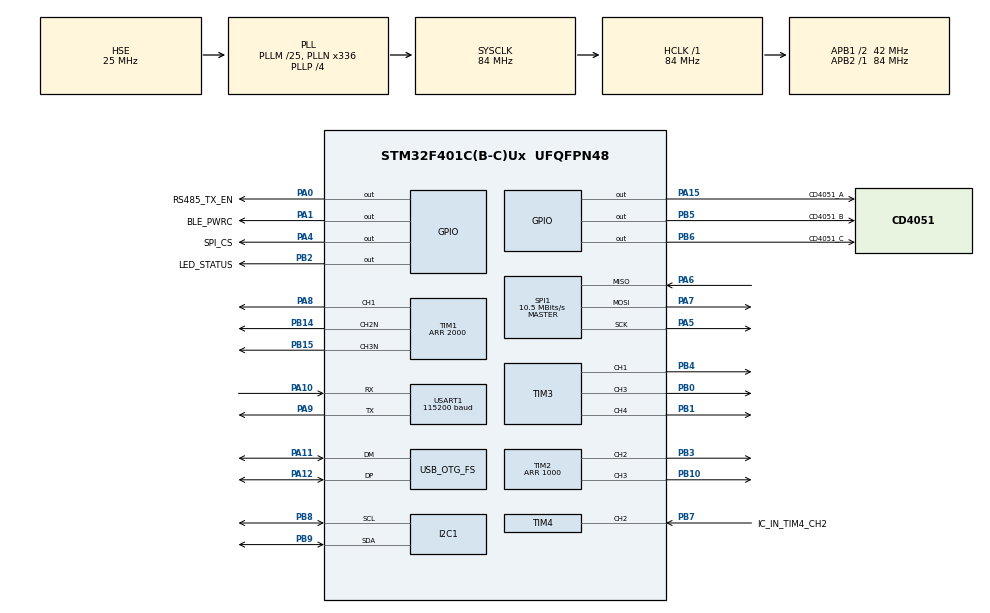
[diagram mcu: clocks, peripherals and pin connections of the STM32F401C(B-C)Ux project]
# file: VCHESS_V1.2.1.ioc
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Dma.I2C1_RX.11.Direction=DMA_PERIPH_TO_MEMORY
Dma.I2C1_RX.11.FIFOMode=DMA_FIFOMODE_DISABLE
Dma.I2C1_RX.11.Instance=DMA1_Stream0
Dma.I2C1_RX.11.MemDataAlignment=DMA_MDATAALIGN_BYTE
Dma.I2C1_RX.11.MemInc=DMA_MINC_ENABLE
Dma.I2C1_RX.11.Mode=DMA_NORMAL
Dma.I2C1_RX.11.PeriphDataAlignment=DMA_PDATAALIGN_BYTE
Dma.I2C1_RX.11.PeriphInc=DMA_PINC_DISABLE
Dma.I2C1_RX.11.Priority=DMA_PRIORITY_HIGH
Dma.Request0=TIM1_CH1
Dma.Request1=TIM1_CH2
Dma.Request10=USART1_TX
Dma.Request11=I2C1_RX
Dma.Request2=TIM1_CH3
Dma.Request3=TIM3_CH1/TRIG
Dma.Request4=TIM3_CH3
Dma.Request5=TIM3_CH4/UP
Dma.Request6=TIM4_CH2
Dma.Request7=TIM2_CH3/UP
Dma.Request8=TIM2_CH2/CH4
Dma.Request9=USART1_RX
Dma.TIM1_CH1.0.Direction=DMA_MEMORY_TO_PERIPH
Dma.TIM1_CH1.0.FIFOMode=DMA_FIFOMODE_DISABLE
Dma.TIM1_CH1.0.Instance=DMA2_Stream1
Dma.TIM1_CH1.0.MemDataAlignment=DMA_MDATAALIGN_HALFWORD
Dma.TIM1_CH1.0.MemInc=DMA_MINC_ENABLE
Dma.TIM1_CH1.0.Mode=DMA_NORMAL
Dma.TIM1_CH1.0.PeriphDataAlignment=DMA_PDATAALIGN_HALFWORD
Dma.TIM1_CH1.0.PeriphInc=DMA_PINC_DISABLE
Dma.TIM1_CH1.0.Priority=DMA_PRIORITY_MEDIUM
Dma.TIM1_CH2.1.Direction=DMA_MEMORY_TO_PERIPH
Dma.TIM1_CH2.1.FIFOMode=DMA_FIFOMODE_DISABLE
Dma.TIM1_CH2.1.Instance=DMA2_Stream2
Dma.TIM1_CH2.1.MemDataAlignment=DMA_MDATAALIGN_HALFWORD
Dma.TIM1_CH2.1.MemInc=DMA_MINC_ENABLE
Dma.TIM1_CH2.1.Mode=DMA_NORMAL
Dma.TIM1_CH2.1.PeriphDataAlignment=DMA_PDATAALIGN_HALFWORD
Dma.TIM1_CH2.1.PeriphInc=DMA_PINC_DISABLE
Dma.TIM1_CH2.1.Priority=DMA_PRIORITY_MEDIUM
Dma.TIM1_CH3.2.Direction=DMA_MEMORY_TO_PERIPH
Dma.TIM1_CH3.2.FIFOMode=DMA_FIFOMODE_DISABLE
Dma.TIM1_CH3.2.Instance=DMA2_Stream6
Dma.TIM1_CH3.2.MemDataAlignment=DMA_MDATAALIGN_HALFWORD
Dma.TIM1_CH3.2.MemInc=DMA_MINC_ENABLE
Dma.TIM1_CH3.2.Mode=DMA_NORMAL
Dma.TIM1_CH3.2.PeriphDataAlignment=DMA_PDATAALIGN_HALFWORD
Dma.TIM1_CH3.2.PeriphInc=DMA_PINC_DISABLE
Dma.TIM1_CH3.2.Priority=DMA_PRIORITY_MEDIUM
Dma.TIM2_CH2/CH4.8.Direction=DMA_MEMORY_TO_PERIPH
Dma.TIM2_CH2/CH4.8.FIFOMode=DMA_FIFOMODE_DISABLE
Dma.TIM2_CH2/CH4.8.Instance=DMA1_Stream6
Dma.TIM2_CH2/CH4.8.MemDataAlignment=DMA_MDATAALIGN_WORD
Dma.TIM2_CH2/CH4.8.MemInc=DMA_MINC_ENABLE
Dma.TIM2_CH2/CH4.8.Mode=DMA_NORMAL
Dma.TIM2_CH2/CH4.8.PeriphDataAlignment=DMA_PDATAALIGN_WORD
Dma.TIM2_CH2/CH4.8.PeriphInc=DMA_PINC_DISABLE
Dma.TIM2_CH2/CH4.8.Priority=DMA_PRIORITY_MEDIUM
Dma.TIM2_CH3/UP.7.Direction=DMA_MEMORY_TO_PERIPH
Dma.TIM2_CH3/UP.7.FIFOMode=DMA_FIFOMODE_DISABLE
Dma.TIM2_CH3/UP.7.Instance=DMA1_Stream1
Dma.TIM2_CH3/UP.7.MemDataAlignment=DMA_MDATAALIGN_WORD
Dma.TIM2_CH3/UP.7.MemInc=DMA_MINC_ENABLE
Dma.TIM2_CH3/UP.7.Mode=DMA_NORMAL
Dma.TIM2_CH3/UP.7.PeriphDataAlignment=DMA_PDATAALIGN_WORD
Dma.TIM2_CH3/UP.7.PeriphInc=DMA_PINC_DISABLE
Dma.TIM2_CH3/UP.7.Priority=DMA_PRIORITY_MEDIUM
Dma.TIM3_CH1/TRIG.3.Direction=DMA_MEMORY_TO_PERIPH
Dma.TIM3_CH1/TRIG.3.FIFOMode=DMA_FIFOMODE_DISABLE
Dma.TIM3_CH1/TRIG.3.Instance=DMA1_Stream4
Dma.TIM3_CH1/TRIG.3.MemDataAlignment=DMA_MDATAALIGN_HALFWORD
Dma.TIM3_CH1/TRIG.3.MemInc=DMA_MINC_ENABLE
Dma.TIM3_CH1/TRIG.3.Mode=DMA_NORMAL
Dma.TIM3_CH1/TRIG.3.PeriphDataAlignment=DMA_PDATAALIGN_HALFWORD
Dma.TIM3_CH1/TRIG.3.PeriphInc=DMA_PINC_DISABLE
Dma.TIM3_CH1/TRIG.3.Priority=DMA_PRIORITY_MEDIUM
Dma.TIM3_CH3.4.Direction=DMA_MEMORY_TO_PERIPH
Dma.TIM3_CH3.4.FIFOMode=DMA_FIFOMODE_DISABLE
Dma.TIM3_CH3.4.Instance=DMA1_Stream7
Dma.TIM3_CH3.4.MemDataAlignment=DMA_MDATAALIGN_HALFWORD
Dma.TIM3_CH3.4.MemInc=DMA_MINC_ENABLE
Dma.TIM3_CH3.4.Mode=DMA_NORMAL
Dma.TIM3_CH3.4.PeriphDataAlignment=DMA_PDATAALIGN_HALFWORD
Dma.TIM3_CH3.4.PeriphInc=DMA_PINC_DISABLE
Dma.TIM3_CH3.4.Priority=DMA_PRIORITY_MEDIUM
Dma.TIM3_CH4/UP.5.Direction=DMA_MEMORY_TO_PERIPH
Dma.TIM3_CH4/UP.5.FIFOMode=DMA_FIFOMODE_DISABLE
Dma.TIM3_CH4/UP.5.Instance=DMA1_Stream2
Dma.TIM3_CH4/UP.5.MemDataAlignment=DMA_MDATAALIGN_HALFWORD
Dma.TIM3_CH4/UP.5.MemInc=DMA_MINC_ENABLE
Dma.TIM3_CH4/UP.5.Mode=DMA_NORMAL
Dma.TIM3_CH4/UP.5.PeriphDataAlignment=DMA_PDATAALIGN_HALFWORD
Dma.TIM3_CH4/UP.5.PeriphInc=DMA_PINC_DISABLE
Dma.TIM3_CH4/UP.5.Priority=DMA_PRIORITY_MEDIUM
Dma.TIM4_CH2.6.Direction=DMA_PERIPH_TO_MEMORY
Dma.TIM4_CH2.6.FIFOMode=DMA_FIFOMODE_DISABLE
Dma.TIM4_CH2.6.Instance=DMA1_Stream3
Dma.TIM4_CH2.6.MemDataAlignment=DMA_MDATAALIGN_HALFWORD
Dma.TIM4_CH2.6.MemInc=DMA_MINC_ENABLE
Dma.TIM4_CH2.6.Mode=DMA_NORMAL
Dma.TIM4_CH2.6.PeriphDataAlignment=DMA_PDATAALIGN_HALFWORD
Dma.TIM4_CH2.6.PeriphInc=DMA_PINC_DISABLE
Dma.TIM4_CH2.6.Priority=DMA_PRIORITY_HIGH
Dma.USART1_RX.9.Direction=DMA_PERIPH_TO_MEMORY
Dma.USART1_RX.9.FIFOMode=DMA_FIFOMODE_DISABLE
Dma.USART1_RX.9.Instance=DMA2_Stream5
Dma.USART1_RX.9.MemDataAlignment=DMA_MDATAALIGN_BYTE
Dma.USART1_RX.9.MemInc=DMA_MINC_ENABLE
Dma.USART1_RX.9.Mode=DMA_NORMAL
Dma.USART1_RX.9.PeriphDataAlignment=DMA_PDATAALIGN_BYTE
Dma.USART1_RX.9.PeriphInc=DMA_PINC_DISABLE
Dma.USART1_RX.9.Priority=DMA_PRIORITY_HIGH
Dma.USART1_TX.10.Direction=DMA_MEMORY_TO_PERIPH
Dma.USART1_TX.10.FIFOMode=DMA_FIFOMODE_DISABLE
Dma.USART1_TX.10.Instance=DMA2_Stream7
Dma.USART1_TX.10.MemDataAlignment=DMA_MDATAALIGN_BYTE
Dma.USART1_TX.10.MemInc=DMA_MINC_ENABLE
Dma.USART1_TX.10.Mode=DMA_NORMAL
Dma.USART1_TX.10.PeriphDataAlignment=DMA_PDATAALIGN_BYTE
Dma.USART1_TX.10.PeriphInc=DMA_PINC_DISABLE
Dma.USART1_TX.10.Priority=DMA_PRIORITY_HIGH
FREERTOS.BinarySemaphores01=binarySemGetFRAM,Dynamic,NULL;binarySemMasterGetData,Dynamic,NULL;binarySemI2C_Status,Dynamic,NULL
FREERTOS.Tasks01=defaultTask,3,512,StartDefaultTask,Default,NULL,Dynamic,NULL,NULL;taskScanPiece,2,4096,StartTaskScanPiece,As external,NULL,Static,taskScanPieceBuffer,taskScanPieceControlBlock
I2C1.OwnAddress=0x50
IWDG.Prescaler=IWDG_PRESCALER_64
IWDG.Reload=1000
Mcu.Family=STM32F4
Mcu.Name=STM32F401C(B-C)Ux
Mcu.Package=UFQFPN48
NVIC.DMA1_Stream0_IRQn=true\:5\:0\:false\:false\:true\:true\:false\:true\:true
NVIC.DMA1_Stream1_IRQn=true\:5\:0\:true\:false\:true\:true\:false\:true\:true
NVIC.DMA1_Stream2_IRQn=true\:5\:0\:true\:false\:true\:true\:false\:true\:true
NVIC.DMA1_Stream3_IRQn=true\:5\:0\:true\:false\:true\:true\:false\:true\:true
NVIC.DMA1_Stream4_IRQn=true\:5\:0\:true\:false\:true\:true\:false\:true\:true
NVIC.DMA1_Stream6_IRQn=true\:5\:0\:true\:false\:true\:true\:false\:true\:true
NVIC.DMA1_Stream7_IRQn=true\:5\:0\:true\:false\:true\:true\:false\:true\:true
NVIC.DMA2_Stream1_IRQn=true\:5\:0\:true\:false\:true\:true\:false\:true\:true
NVIC.DMA2_Stream2_IRQn=true\:5\:0\:true\:false\:true\:true\:false\:true\:true
NVIC.DMA2_Stream5_IRQn=true\:5\:0\:true\:false\:true\:true\:false\:true\:true
NVIC.DMA2_Stream6_IRQn=true\:5\:0\:true\:false\:true\:true\:false\:true\:true
NVIC.DMA2_Stream7_IRQn=true\:5\:0\:true\:false\:true\:true\:false\:true\:true
NVIC.I2C1_ER_IRQn=true\:5\:0\:false\:false\:true\:true\:true\:true\:true
NVIC.I2C1_EV_IRQn=true\:5\:0\:false\:false\:true\:true\:true\:true\:true
NVIC.OTG_FS_IRQn=true\:5\:0\:false\:false\:true\:true\:false\:true\:true
NVIC.PVD_IRQn=true\:5\:0\:false\:false\:true\:true\:true\:true\:true
NVIC.PriorityGroup=NVIC_PRIORITYGROUP_4
NVIC.TIM1_BRK_TIM9_IRQn=true\:5\:0\:false\:false\:true\:true\:true\:true\:true
NVIC.TIM1_CC_IRQn=true\:5\:0\:false\:false\:true\:true\:true\:true\:true
NVIC.TIM1_TRG_COM_TIM11_IRQn=true\:15\:0\:false\:false\:true\:false\:false\:true\:true
NVIC.TIM1_UP_TIM10_IRQn=true\:5\:0\:true\:false\:true\:true\:true\:true\:true
NVIC.TIM2_IRQn=true\:5\:0\:false\:false\:true\:true\:true\:true\:true
NVIC.TIM3_IRQn=true\:5\:0\:false\:false\:true\:true\:true\:true\:true
NVIC.TIM4_IRQn=true\:5\:0\:false\:false\:true\:true\:true\:true\:true
NVIC.TimeBase=TIM1_TRG_COM_TIM11_IRQn
NVIC.TimeBaseIP=TIM11
NVIC.USART1_IRQn=true\:5\:0\:false\:false\:true\:true\:true\:true\:true
PA0-WKUP.GPIO_Label=RS485_TX_EN
PA0-WKUP.GPIO_PuPd=GPIO_PULLDOWN
PA0-WKUP.GPIO_Speed=GPIO_SPEED_FREQ_MEDIUM
PA0-WKUP.Signal=GPIO_Output
PA1.GPIO_Label=BLE_PWRC
PA1.PinState=GPIO_PIN_SET
PA1.Signal=GPIO_Output
PA10.GPIO_PuPd=GPIO_PULLUP
PA10.Mode=Asynchronous
PA10.Signal=USART1_RX
PA11.Mode=Device_Only
PA11.Signal=USB_OTG_FS_DM
PA12.Mode=Device_Only
PA12.Signal=USB_OTG_FS_DP
PA13.Mode=Serial_Wire
PA13.Signal=SYS_JTMS-SWDIO
PA14.Mode=Serial_Wire
PA14.Signal=SYS_JTCK-SWCLK
PA15.GPIO_Label=CD4051_A
PA15.Signal=GPIO_Output
PA4.GPIO_Label=SPI_CS
PA4.GPIO_Speed=GPIO_SPEED_FREQ_VERY_HIGH
PA4.PinState=GPIO_PIN_SET
PA4.Signal=GPIO_Output
PA5.Mode=Full_Duplex_Master
PA5.Signal=SPI1_SCK
PA6.Mode=Full_Duplex_Master
PA6.Signal=SPI1_MISO
PA7.Mode=Full_Duplex_Master
PA7.Signal=SPI1_MOSI
PA8.Signal=S_TIM1_CH1
PA9.Mode=Asynchronous
PA9.Signal=USART1_TX
PB0.Signal=S_TIM3_CH3
PB1.Signal=S_TIM3_CH4
PB10.Signal=S_TIM2_CH3
PB14.Mode=PWM Generation2 CH2N
PB14.Signal=TIM1_CH2N
PB15.Mode=PWM Generation3 CH3N
PB15.Signal=TIM1_CH3N
PB2.GPIO_Label=LED_STATUS
PB2.Signal=GPIO_Output
PB3.Signal=S_TIM2_CH2
PB4.Signal=S_TIM3_CH1
PB5.GPIO_Label=CD4051_B
PB5.Signal=GPIO_Output
PB6.GPIO_Label=CD4051_C
PB6.Signal=GPIO_Output
PB7.GPIO_Label=IC_IN_TIM4_CH2
PB7.Signal=S_TIM4_CH2
PB8.Mode=I2C
PB8.Signal=I2C1_SCL
PB9.Mode=I2C
PB9.Signal=I2C1_SDA
PC14-OSC32_IN.Mode=LSE-External-Oscillator
PC14-OSC32_IN.Signal=RCC_OSC32_IN
PC15-OSC32_OUT.Mode=LSE-External-Oscillator
PC15-OSC32_OUT.Signal=RCC_OSC32_OUT
PH0\ -\ OSC_IN.Mode=HSE-External-Oscillator
PH0\ -\ OSC_IN.Signal=RCC_OSC_IN
PH1\ -\ OSC_OUT.Mode=HSE-External-Oscillator
PH1\ -\ OSC_OUT.Signal=RCC_OSC_OUT
ProjectManager.HeapSize=0x200
ProjectManager.StackSize=0x400
ProjectManager.TargetToolchain=STM32CubeIDE
RCC.48MHZClocksFreq_Value=48000000
RCC.AHBFreq_Value=84000000
RCC.APB1CLKDivider=RCC_HCLK_DIV2
RCC.APB1Freq_Value=42000000
RCC.APB1TimFreq_Value=84000000
RCC.APB2Freq_Value=84000000
RCC.APB2TimFreq_Value=84000000
RCC.CortexFreq_Value=84000000
RCC.HCLKFreq_Value=84000000
RCC.HSE_VALUE=25000000
RCC.HSI_VALUE=16000000
RCC.PLLM=25
RCC.PLLN=336
RCC.PLLP=RCC_PLLP_DIV4
RCC.PLLQ=7
RCC.RCC_RTC_Clock_SourceVirtual=RCC_RTCCLKSOURCE_LSE
RCC.SYSCLKFreq_VALUE=84000000
RCC.SYSCLKSource=RCC_SYSCLKSOURCE_PLLCLK
RCC.VCOOutputFreq_Value=336000000
RTC.Date=9
RTC.Format=RTC_FORMAT_BIN
RTC.Month=RTC_MONTH_SEPTEMBER
RTC.SynchPrediv=255
RTC.Year=22
SH.S_TIM1_CH1.0=TIM1_CH1,PWM Generation1 CH1
SH.S_TIM2_CH2.0=TIM2_CH2,PWM Generation2 CH2
SH.S_TIM2_CH3.0=TIM2_CH3,PWM Generation3 CH3
SH.S_TIM3_CH1.0=TIM3_CH1,PWM Generation1 CH1
SH.S_TIM3_CH3.0=TIM3_CH3,PWM Generation3 CH3
SH.S_TIM3_CH4.0=TIM3_CH4,PWM Generation4 CH4
SH.S_TIM4_CH2.0=TIM4_CH2,Input_Capture2_from_TI2
SPI1.BaudRatePrescaler=SPI_BAUDRATEPRESCALER_8
SPI1.CLKPhase=SPI_PHASE_2EDGE
SPI1.CLKPolarity=SPI_POLARITY_HIGH
SPI1.CalculateBaudRate=10.5 MBits/s
SPI1.Direction=SPI_DIRECTION_2LINES
SPI1.Mode=SPI_MODE_MASTER
SPI1.VirtualType=VM_MASTER
TIM1.AutoReloadPreload=TIM_AUTORELOAD_PRELOAD_ENABLE
TIM1.Channel-PWM\ Generation1\ CH1=TIM_CHANNEL_1
TIM1.Channel-PWM\ Generation2\ CH2N=TIM_CHANNEL_2
TIM1.Channel-PWM\ Generation3\ CH3N=TIM_CHANNEL_3
TIM1.OCMode_PWM-PWM\ Generation2\ CH2N=TIM_OCMODE_PWM2
TIM1.OCMode_PWM-PWM\ Generation3\ CH3N=TIM_OCMODE_PWM2
TIM1.Period=2000
TIM1.Pulse-PWM\ Generation1\ CH1=0
TIM1.Pulse-PWM\ Generation2\ CH2N=0
TIM1.Pulse-PWM\ Generation3\ CH3N=0
TIM2.AutoReloadPreload=TIM_AUTORELOAD_PRELOAD_ENABLE
TIM2.Channel-PWM\ Generation2\ CH2=TIM_CHANNEL_2
TIM2.Channel-PWM\ Generation3\ CH3=TIM_CHANNEL_3
TIM2.Period=1000
TIM3.AutoReloadPreload=TIM_AUTORELOAD_PRELOAD_ENABLE
TIM3.Channel-PWM\ Generation1\ CH1=TIM_CHANNEL_1
TIM3.Channel-PWM\ Generation3\ CH3=TIM_CHANNEL_3
TIM3.Channel-PWM\ Generation4\ CH4=TIM_CHANNEL_4
TIM3.Pulse-PWM\ Generation1\ CH1=0
TIM3.Pulse-PWM\ Generation3\ CH3=0
TIM3.Pulse-PWM\ Generation4\ CH4=0
TIM4.AutoReloadPreload=TIM_AUTORELOAD_PRELOAD_ENABLE
TIM4.Channel-Input_Capture2_from_TI2=TIM_CHANNEL_2
USART1.BaudRate=115200
USART1.VirtualMode=VM_ASYNC
USB_DEVICE.CLASS_NAME_FS=CDC
USB_DEVICE.MANUFACTURER_STRING=SQChess
USB_DEVICE.PRODUCT_STRING_CDC_FS=SQ_Chess_Board
USB_DEVICE.VirtualMode=Cdc
USB_DEVICE.VirtualModeFS=Cdc_FS
USB_OTG_FS.VirtualMode=Device_Only
VP_FREERTOS_VS_CMSIS_V1.Mode=CMSIS_V1
VP_IWDG_VS_IWDG.Mode=IWDG_Activate
VP_RTC_VS_RTC_Activate.Mode=RTC_Enabled
VP_RTC_VS_RTC_Calendar.Mode=RTC_Calendar
VP_SYS_VS_tim11.Mode=TIM11
VP_TIM1_VS_ClockSourceINT.Mode=Internal
VP_TIM2_VS_ClockSourceINT.Mode=Internal
VP_TIM3_VS_ClockSourceINT.Mode=Internal
VP_TIM4_VS_ClockSourceINT.Mode=Internal
VP_USB_DEVICE_VS_USB_DEVICE_CDC_FS.Mode=CDC_FS
board=custom

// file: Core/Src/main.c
/* USER CODE BEGIN Header */
/**
 ******************************************************************************
 * @file           : main.c
 * @brief          : Main program body
 ******************************************************************************
 * @attention
 *
 * Copyright (c) 2022 STMicroelectronics.
 * All rights reserved.
 *
 * This software is licensed under terms that can be found in the LICENSE file
 * in the root directory of this software component.
 * If no LICENSE file comes with this software, it is provided AS-IS.
 *
 ******************************************************************************
 */
/* USER CODE END Header */
#include "main.h"
#include "cmsis_os.h"
#include "dma.h"
#include "i2c.h"
#include "iwdg.h"
#include "rtc.h"
#include "spi.h"
#include "tim.h"
#include "usart.h"
#include "usb_device.h"
#include "gpio.h"

/* USER CODE BEGIN Includes */
#include "stdbool.h"
#include "usbd_cdc_if.h"
#include "MB85RS256.h"
#include "Interface.h"
#include "RtcRealTime.h"
#include "PVD.h"
/* USER CODE END Includes */

/* USER CODE BEGIN PV */
extern bool is_start_measure;
uint8_t sys_error = BOARD_ERROR_NONE; // trạng thái lỗi toàn hệ thống
/* USER CODE END PV */

void SystemClock_Config(void);
void MX_FREERTOS_Init(void);
/* USER CODE BEGIN PFP */
extern void StartTaskScanPiece();
extern void TaskScanPieceInit();
extern void RoamingData();
extern void initReceiverUart();
/* USER CODE END PFP */

/* USER CODE BEGIN 0 */
extern uint8_t tik;
extern uint8_t Mb85rs_dataTx[50];
extern uint8_t Mb85rs_dataRx[50];
extern uint8_t data_rx[35];
extern uint8_t data_tx[35];
extern uint8_t Mb85rs_cmd[3];
extern uint8_t cmd;
uint8_t reg = 0;

/* USER CODE END 0 */

int main(void) {

	/* MCU Configuration--------------------------------------------------------*/

	/* Reset of all peripherals, Initializes the Flash interface and the Systick. */
	HAL_Init();

	/* Configure the system clock */
	SystemClock_Config();

	/* Initialize all configured peripherals */
	MX_GPIO_Init();
	MX_DMA_Init();
	MX_TIM1_Init();
	MX_TIM2_Init();
	MX_TIM3_Init();
	MX_TIM4_Init();
	MX_I2C1_Init();
	MX_SPI1_Init();
	MX_USART1_UART_Init();
	MX_RTC_Init();
	MX_IWDG_Init();
	/* USER CODE BEGIN 2 */
	// led nhay bao hieu khoi dong
	for (int i = 0; i < 3; i++) {
		LED_ON;
		HAL_Delay(100);
		LED_OFF
		;
		HAL_Delay(100);
	}
	PVD_Config();
	initReceiverUart();
	sys_error = BackupError_read(); // lấy lại trạng thái lỗi trước đó .
	/* USER CODE END 2 */

	/* Call init function for freertos objects (in freertos.c) */
	MX_FREERTOS_Init();

	/* Start scheduler */
	osKernelStart();

	/* We should never get here as control is now taken by the scheduler */
	/* Infinite loop */
	while (1) {

	}
}

void SystemClock_Config(void) {
	RCC_OscInitTypeDef RCC_OscInitStruct = { 0 };
	RCC_ClkInitTypeDef RCC_ClkInitStruct = { 0 };

	/** Configure the main internal regulator output voltage
	 */
	__HAL_RCC_PWR_CLK_ENABLE();
	__HAL_PWR_VOLTAGESCALING_CONFIG(PWR_REGULATOR_VOLTAGE_SCALE2);

	/** Initializes the RCC Oscillators according to the specified parameters
	 * in the RCC_OscInitTypeDef structure.
	 */
	RCC_OscInitStruct.OscillatorType = RCC_OSCILLATORTYPE_LSI
			| RCC_OSCILLATORTYPE_HSE | RCC_OSCILLATORTYPE_LSE;
	RCC_OscInitStruct.HSEState = RCC_HSE_ON;
	RCC_OscInitStruct.LSEState = RCC_LSE_ON;
	RCC_OscInitStruct.LSIState = RCC_LSI_ON;
	RCC_OscInitStruct.PLL.PLLState = RCC_PLL_ON;
	RCC_OscInitStruct.PLL.PLLSource = RCC_PLLSOURCE_HSE;
	RCC_OscInitStruct.PLL.PLLM = 25;
	RCC_OscInitStruct.PLL.PLLN = 336;
	RCC_OscInitStruct.PLL.PLLP = RCC_PLLP_DIV4;
	RCC_OscInitStruct.PLL.PLLQ = 7;
	if (HAL_RCC_OscConfig(&RCC_OscInitStruct) != HAL_OK) {
		Error_Handler();
	}

	/** Initializes the CPU, AHB and APB buses clocks
	 */
	RCC_ClkInitStruct.ClockType = RCC_CLOCKTYPE_HCLK | RCC_CLOCKTYPE_SYSCLK
			| RCC_CLOCKTYPE_PCLK1 | RCC_CLOCKTYPE_PCLK2;
	RCC_ClkInitStruct.SYSCLKSource = RCC_SYSCLKSOURCE_PLLCLK;
	RCC_ClkInitStruct.AHBCLKDivider = RCC_SYSCLK_DIV1;
	RCC_ClkInitStruct.APB1CLKDivider = RCC_HCLK_DIV2;
	RCC_ClkInitStruct.APB2CLKDivider = RCC_HCLK_DIV1;

	if (HAL_RCC_ClockConfig(&RCC_ClkInitStruct, FLASH_LATENCY_2) != HAL_OK) {
		Error_Handler();
	}
}

/* USER CODE BEGIN 4 */

RTC_DateTypeDef myDate;
/* USER CODE END 4 */

void HAL_TIM_PeriodElapsedCallback(TIM_HandleTypeDef *htim) {
	if (htim->Instance == TIM11) {
		HAL_IncTick();
	}
	/* USER CODE BEGIN Callback 1 */
	else if (htim->Instance == TIM4) {
		if (is_start_measure == true) {
			is_start_measure = false;
			HAL_TIM_IC_Stop_DMA(&htim4, TIM_CHANNEL_2);
		}
	}
	/* USER CODE END Callback 1 */
}

void Error_Handler(void) {
	/* USER CODE BEGIN Error_Handler_Debug */
	/* User can add his own implementation to report the HAL error return state */
	__disable_irq();
	sys_error = BOARD_SYS_ERROR;
	BackupError_write(sys_error);

	for (int i = 0; i < 30000; i++) {
		for (int j = 0; j < 30000; j++) {
			__NOP();
		}
	}
	HAL_NVIC_SystemReset();

	while (1) {

	}

	/* USER CODE END Error_Handler_Debug */
}

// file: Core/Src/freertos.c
/* USER CODE BEGIN Header */
/**
  ******************************************************************************
  * File Name          : freertos.c
  * Description        : Code for freertos applications
  ******************************************************************************
  * @attention
  *
  * Copyright (c) 2022 STMicroelectronics.
  * All rights reserved.
  *
  * This software is licensed under terms that can be found in the LICENSE file
  * in the root directory of this software component.
  * If no LICENSE file comes with this software, it is provided AS-IS.
  *
  ******************************************************************************
  */
/* USER CODE END Header */

#include "FreeRTOS.h"
#include "task.h"
#include "main.h"
#include "cmsis_os.h"

/* USER CODE BEGIN Includes */
#include "Bluetooth.h"
#include "ChessClock.h"
#include "Utilities.h"
#include "Interface.h"
/* USER CODE END Includes */

osThreadId defaultTaskHandle;
osThreadId taskScanPieceHandle;
uint32_t taskScanPieceBuffer[ 4096 ];
osStaticThreadDef_t taskScanPieceControlBlock;
osSemaphoreId binarySemGetFRAMHandle;
osSemaphoreId binarySemMasterGetDataHandle;
osSemaphoreId binarySemI2C_StatusHandle;

void StartDefaultTask(void const * argument);
extern void StartTaskScanPiece(void const * argument);

extern void MX_USB_DEVICE_Init(void);
void MX_FREERTOS_Init(void); /* (MISRA C 2004 rule 8.1) */

/* GetIdleTaskMemory prototype (linked to static allocation support) */
void vApplicationGetIdleTaskMemory( StaticTask_t **ppxIdleTaskTCBBuffer, StackType_t **ppxIdleTaskStackBuffer, uint32_t *pulIdleTaskStackSize );

/* USER CODE BEGIN GET_IDLE_TASK_MEMORY */
static StaticTask_t xIdleTaskTCBBuffer;
static StackType_t xIdleStack[configMINIMAL_STACK_SIZE];

void vApplicationGetIdleTaskMemory( StaticTask_t **ppxIdleTaskTCBBuffer, StackType_t **ppxIdleTaskStackBuffer, uint32_t *pulIdleTaskStackSize )
{
  *ppxIdleTaskTCBBuffer = &xIdleTaskTCBBuffer;
  *ppxIdleTaskStackBuffer = &xIdleStack[0];
  *pulIdleTaskStackSize = configMINIMAL_STACK_SIZE;
  /* place for user code */
}
/* USER CODE END GET_IDLE_TASK_MEMORY */

void MX_FREERTOS_Init(void) {

  /* Create the semaphores(s) */
  /* definition and creation of binarySemGetFRAM */
  osSemaphoreDef(binarySemGetFRAM);
  binarySemGetFRAMHandle = osSemaphoreCreate(osSemaphore(binarySemGetFRAM), 1);

  /* definition and creation of binarySemMasterGetData */
  osSemaphoreDef(binarySemMasterGetData);
  binarySemMasterGetDataHandle = osSemaphoreCreate(osSemaphore(binarySemMasterGetData), 1);

  /* definition and creation of binarySemI2C_Status */
  osSemaphoreDef(binarySemI2C_Status);
  binarySemI2C_StatusHandle = osSemaphoreCreate(osSemaphore(binarySemI2C_Status), 1);

  /* Create the thread(s) */
  /* definition and creation of defaultTask */
  osThreadDef(defaultTask, StartDefaultTask, osPriorityRealtime, 0, 512);
  defaultTaskHandle = osThreadCreate(osThread(defaultTask), NULL);

  /* definition and creation of taskScanPiece */
  osThreadStaticDef(taskScanPiece, StartTaskScanPiece, osPriorityHigh, 0, 4096, taskScanPieceBuffer, &taskScanPieceControlBlock);
  taskScanPieceHandle = osThreadCreate(osThread(taskScanPiece), NULL);

}

/* USER CODE BEGIN Header_StartDefaultTask */
/**
  * @brief  Function implementing the defaultTask thread.
  * @param  argument: Not used
  * @retval None
  */
extern uint8_t ping_chessclock;
extern uint8_t data_chessclock[15];
/* USER CODE END Header_StartDefaultTask */
void StartDefaultTask(void const * argument)
{
  /* init code for USB_DEVICE */
  MX_USB_DEVICE_Init();
  /* USER CODE BEGIN StartDefaultTask */
  ChessClock_Init();

  /* Infinite loop */
  for(;;)
  {
	  // kiểm tra trạng thái kết nối với đồng hồ qua I2C
	  osDelay(1000);
	  if(ping_chessclock > 0) {
		  ping_chessclock--;
	  }
	  /* ping_chessclock sẽ đếm ngược đến 0
	   * khi nó đếm đến 0 sẽ set chessclock status = disconnect */
	  if(ping_chessclock==0){
		  data_chessclock[9]=STATUS_DISCONNECT_CLOCK;
		  HAL_NVIC_SystemReset();
	  }

  }
  /* USER CODE END StartDefaultTask */
}
